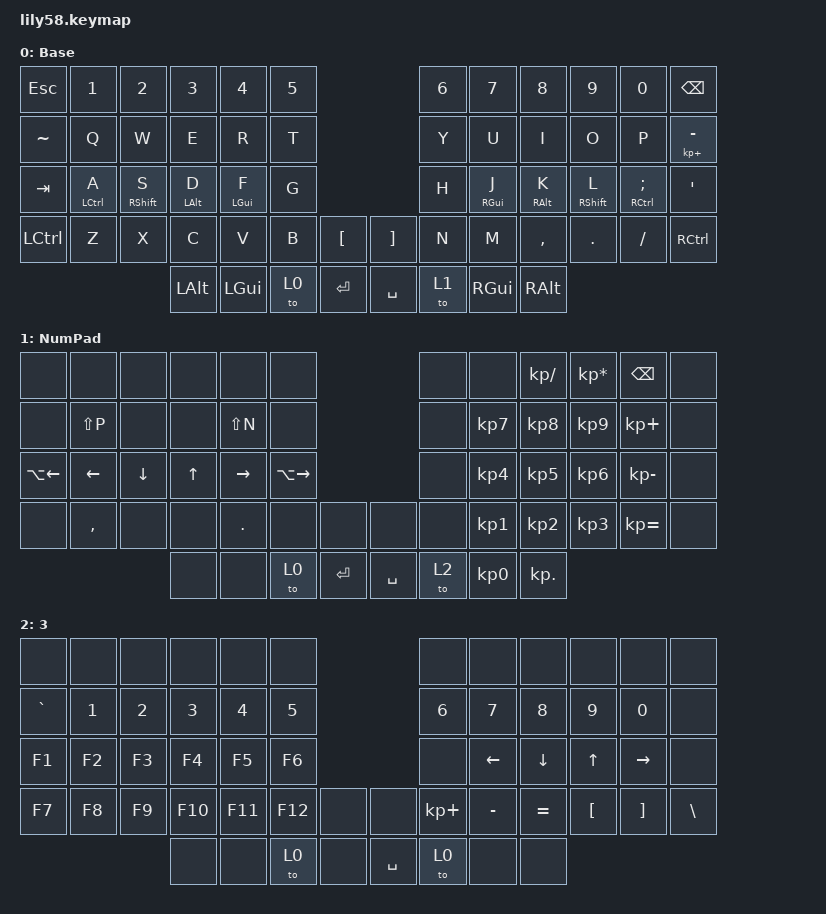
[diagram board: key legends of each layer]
/*
 * Copyright (c) 2020 The ZMK Contributors
 *
 * SPDX-License-Identifier: MIT
 */

#include <behaviors.dtsi>
#include <dt-bindings/zmk/keys.h>

/ {
    behaviors {
        HT2MS: HT2MS {
            compatible = "zmk,behavior-hold-tap";
            label = "HT2MS";
            bindings = <&kp>, <&kp>;

            #binding-cells = <2>;
            flavor = "tap-preferred";
            tapping-term-ms = <200>;
            quick-tap-ms = <50>;
        };
    };

    keymap {
        compatible = "zmk,keymap";

        Base {
            // ------------------------------------------------------------------------------------------------------------
            // |  ESC  |  1  |  2  |  3   |  4   |  5   |                   |  6   |  7    |  8    |  9   |   0   |   `   |
            // |  TAB  |  Q  |  W  |  E   |  R   |  T   |                   |  Y   |  U    |  I    |  O   |   P   |   -   |
            // |  CTRL |  A  |  S  |  D   |  F   |  G   |                   |  H   |  J    |  K    |  L   |   ;   |   '   |
            // | SHIFT |  Z  |  X  |  C   |  V   |  B   |   "["  |  |  "]"  |  N   |  M    |  ,    |  .   |   /   | SHIFT |
            //                     | ALT  | GUI  | LOWER|  SPACE |  | ENTER | RAISE| BSPC  | GUI   |

            display-name = "Base";
            bindings = <
&kp ESC           &kp N1                 &kp N2                &kp N3             &kp N4             &kp N5                           &kp N6  &kp N7              &kp N8              &kp N9                &kp N0                     &kp BACKSPACE
&kp TILDE         &kp Q                  &kp W                 &kp E              &kp R              &kp T                            &kp Y   &kp U               &kp I               &kp O                 &kp P                      &HT2MS KP_PLUS MINUS
&kp TAB           &HT2MS LEFT_CONTROL A  &HT2MS RIGHT_SHIFT S  &HT2MS LEFT_ALT D  &HT2MS LEFT_GUI F  &kp G                            &kp H   &HT2MS RIGHT_GUI J  &HT2MS RIGHT_ALT K  &HT2MS RIGHT_SHIFT L  &HT2MS RIGHT_CONTROL SEMI  &kp SQT
&kp LEFT_CONTROL  &kp Z                  &kp X                 &kp C              &kp V              &kp B   &kp LBKT      &kp RBKT   &kp N   &kp M               &kp COMMA           &kp DOT               &kp FSLH                   &kp RIGHT_CONTROL
                                                               &kp LALT           &kp LGUI           &to 0   &kp RETURN    &kp SPACE  &to 1   &kp RIGHT_GUI       &kp RIGHT_ALT
            >;
        };

        Numpad {
            // ------------------------------------------------------------------------------------------------------------
            // | BTCLR | BT1 | BT2 |  BT3 |  BT4 |  BT5 |                   |      |       |       |      |       |       |
            // |  F1   |  F2 |  F3 |  F4  |  F5  |  F6  |                   |  F7  |  F8   |  F9   |  F10 |  F11  |  F12  |
            // |   `   |  !  |  @  |  #   |  $   |  %   |                   |  ^   |  &    |  *    |  (   |   )   |   ~   |
            // |       |     |     |      |      |      |        |  |       |      |  _    |  +    |  {   |   }   |  "|"  |
            //                     |      |      |      |        |  |       |      |       |       |

            display-name = "NumPad";
            bindings = <
&none         &none      &none     &none         &none       &none                                  &none  &none            &kp KP_SLASH     &kp KP_MULTIPLY  &kp BACKSPACE  &none
&none         &kp LS(P)  &none     &none         &kp LS(N)   &none                                  &none  &kp KP_NUMBER_7  &kp KP_NUMBER_8  &kp KP_NUMBER_9  &kp KP_PLUS    &none
&kp LA(LEFT)  &kp LEFT   &kp DOWN  &kp UP_ARROW  &kp RIGHT   &kp LA(RIGHT)                          &none  &kp KP_NUMBER_4  &kp KP_NUMBER_5  &kp KP_NUMBER_6  &kp KP_MINUS   &none
&none         &kp COMMA  &none     &none         &kp PERIOD  &none          &none        &none      &none  &kp KP_NUMBER_1  &kp KP_NUMBER_2  &kp KP_NUMBER_3  &kp KP_EQUAL   &none
                                   &none         &none       &to 0          &kp ENTER    &kp SPACE  &to 2  &kp KP_NUMBER_0  &kp KP_DOT
            >;
        };

        Three {
            // ------------------------------------------------------------------------------------------------------------
            // |       |     |     |      |      |      |                   |      |       |       |      |       |       |
            // |   `   |  1  |  2  |  3   |  4   |  5   |                   |  6   |   7   |   8   |  9   |   0   |       |
            // |   F1  |  F2 |  F3 |  F4  |  F5  |  F6  |                   |      |   <-  |   v   |  ^   |  ->   |       |
            // |   F7  |  F8 |  F9 |  F10 |  F11 |  F12 |        |  |       |  +   |   -   |   =   |  [   |   ]   |   \   |
            //                     |      |      |      |        |  |       |      |       |       |

            display-name = "3";
            bindings = <
&none      &none   &none   &none    &none    &none                        &none        &none      &none      &none     &none      &none
&kp GRAVE  &kp N1  &kp N2  &kp N3   &kp N4   &kp N5                       &kp N6       &kp N7     &kp N8     &kp N9    &kp N0     &none
&kp F1     &kp F2  &kp F3  &kp F4   &kp F5   &kp F6                       &none        &kp LEFT   &kp DOWN   &kp UP    &kp RIGHT  &none
&kp F7     &kp F8  &kp F9  &kp F10  &kp F11  &kp F12  &none    &none      &kp KP_PLUS  &kp MINUS  &kp EQUAL  &kp LBKT  &kp RBKT   &kp BSLH
                           &none    &none    &to 0    &none    &kp SPACE  &to 0        &none      &none
            >;
        };

        extra_1 { status = "reserved"; };

        extra_2 { status = "reserved"; };

        extra_3 { status = "reserved"; };
    };
};
